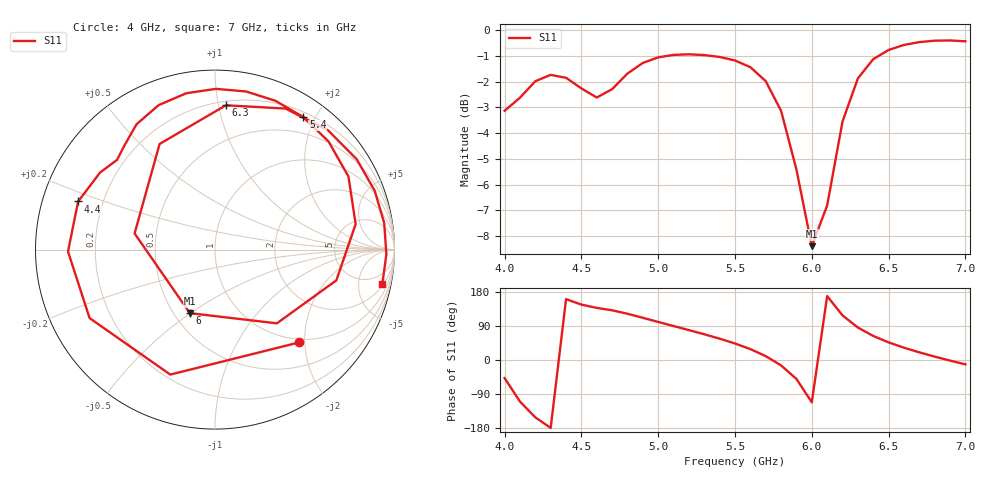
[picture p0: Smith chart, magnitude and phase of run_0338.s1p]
! Touchstone file exported from HFSS 2024.2.0
!  File:  C:/Users/wsak9/Desktop/Sim Fast/Widenad Patch/WP_AI_V1_sweep.aedt
!  Generated:  05:20:29 AM Oct 14, 2026
!  Design:  A1_model
!  Project:  WP_AI_V1_sweep
!  Setup:  Setup1
!  Solution:  Sweep
! Variables:
!  Air_gap = 4.04mm
!  Curve_Amp1 = 3.35
!  Curve_len1 = 1
!  Curve_pos = 11.99mm
!  Extra = 2.24mm
!  H_sub = 0.79mm
!  L_Patch = 19.98mm
!  L_Patch1 = 16.15mm
!  Sx = 2.64mm
!  Sy = 2.92mm
!  WS = 0.2mm
!  W_Patch = 21.19mm
!  W_Patch1 = 13.91mm
!Data is not renormalized
# GHz S MA
! Terminal data exported
! Port[1] = 1
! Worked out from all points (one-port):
!   31 points, 4 GHz to 7 GHz, reference per port
!   lowest |S11| = -8.4 dB at 6 GHz (marker M1), VSWR 2.23
!   |S11| at or under -10 dB: nowhere
!   S11 on the Smith chart (normalised r, x): 4 GHz: 0.93, -1.88; 4.4 GHz: 0.11, +0.17; 5.4 GHz: 0.27, +1.84; 6 GHz: 0.60, -0.50; 6.3 GHz: 0.23, +1.05; 7 GHz: 2.31, -9.32
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4  0.6977 -47.8
4.1  0.7396 -109.7
4.2  0.7962 -151.4
4.3  0.819 -179.3
4.4  0.8084 160.6
4.5  0.771 146.1
4.6  0.7402 137.5
4.7  0.7683 131.1
4.8  0.824 122.0
4.9  0.864 111.3
5  0.8858 100.4
5.2  0.8978 78.9
5.4  0.8873 56.3
5.5  0.8735 43.6
5.6  0.8477 28.7
5.7  0.7964 10.3
5.8  0.6975 -14.2
5.9  0.5364 -50.0
6  0.3808 -111.6
6.1  0.4568 168.6
6.2  0.6647 117.7
6.3  0.8062 85.7
6.4  0.8786 63.4
6.5  0.9156 46.5
6.6  0.9363 32.5
6.7  0.9483 20.2
6.8  0.9543 9.0
7  0.9517 -11.6
